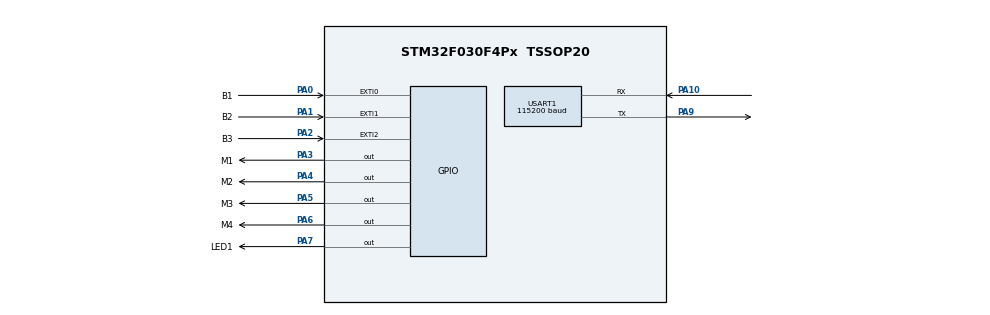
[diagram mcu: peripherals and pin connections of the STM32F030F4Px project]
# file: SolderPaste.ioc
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Mcu.Family=STM32F0
PA2.GPIO_PuPd=GPIO_PULLUP
PA10.Mode=Asynchronous
USART1.BaudRate=115200
PA0.GPIO_Label=B1
PA6.GPIO_Label=M4
ProjectManager.StackSize=0x400
USART1.VirtualMode-Asynchronous=VM_ASYNC
PA13.Signal=SYS_SWDIO
PA9.Mode=Asynchronous
ProjectManager.TargetToolchain=STM32CubeIDE
PA9.Signal=USART1_TX
PA1.GPIO_PuPd=GPIO_PULLUP
PA1.Signal=GPXTI1
PA5.Signal=GPIO_Output
board=custom
NVIC.EXTI2_3_IRQn=true\:0\:0\:false\:false\:true\:true\:true
PA14.Mode=Serial_Wire
PA0.GPIO_ModeDefaultEXTI=GPIO_MODE_IT_FALLING
PA1.GPIO_Label=B2
PA13.Mode=Serial_Wire
Mcu.Name=STM32F030F4Px
PA2.Signal=GPXTI2
PA0.Signal=GPXTI0
PA4.Signal=GPIO_Output
Mcu.Package=TSSOP20
PA6.Signal=GPIO_Output
PA7.GPIO_Label=LED1
PA5.GPIO_Label=M3
PA0.GPIO_PuPd=GPIO_PULLUP
PA2.GPIO_Label=B3
PA10.Signal=USART1_RX
PA14.Signal=SYS_SWCLK
ProjectManager.HeapSize=0x200
PA2.GPIO_ModeDefaultEXTI=GPIO_MODE_IT_FALLING
NVIC.USART1_IRQn=true\:0\:0\:false\:false\:true\:true\:true
PA1.GPIO_ModeDefaultEXTI=GPIO_MODE_IT_FALLING
PA4.GPIO_Label=M2
PA3.GPIO_Label=M1
PA3.Signal=GPIO_Output
PA7.Signal=GPIO_Output
NVIC.EXTI0_1_IRQn=true\:0\:0\:false\:false\:true\:true\:true

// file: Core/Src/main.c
/* USER CODE BEGIN Header */
/**
  ******************************************************************************
  * @file           : main.c
  * @brief          : Main program body
  ******************************************************************************
  * @attention
  *
  * <h2><center>&copy; Copyright (c) 2021 STMicroelectronics.
  * All rights reserved.</center></h2>
  *
  * This software component is licensed by ST under BSD 3-Clause license,
  * the "License"; You may not use this file except in compliance with the
  * License. You may obtain a copy of the License at:
  *                        opensource.org/licenses/BSD-3-Clause
  *
  ******************************************************************************
  */
/* USER CODE END Header */
#include "main.h"
#include "usart.h"
#include "gpio.h"

void SystemClock_Config(void);

/* USER CODE BEGIN 0 */
int motor_step(int counter_step){
	if(counter_step==0){
		HAL_GPIO_WritePin(M1_GPIO_Port, M1_Pin,1);
		HAL_GPIO_WritePin(M2_GPIO_Port, M2_Pin,0);
		HAL_GPIO_WritePin(M3_GPIO_Port, M3_Pin,0);
		HAL_GPIO_WritePin(M4_GPIO_Port, M4_Pin,0);
	}else if(counter_step==1){
		HAL_GPIO_WritePin(M1_GPIO_Port, M1_Pin,0);
		HAL_GPIO_WritePin(M2_GPIO_Port, M2_Pin,1);
		HAL_GPIO_WritePin(M3_GPIO_Port, M3_Pin,0);
		HAL_GPIO_WritePin(M4_GPIO_Port, M4_Pin,0);
	}else if(counter_step==2){
		HAL_GPIO_WritePin(M1_GPIO_Port, M1_Pin,0);
		HAL_GPIO_WritePin(M2_GPIO_Port, M2_Pin,0);
		HAL_GPIO_WritePin(M3_GPIO_Port, M3_Pin,1);
		HAL_GPIO_WritePin(M4_GPIO_Port, M4_Pin,0);
	}else if(counter_step==3){
		HAL_GPIO_WritePin(M1_GPIO_Port, M1_Pin,0);
		HAL_GPIO_WritePin(M2_GPIO_Port, M2_Pin,0);
		HAL_GPIO_WritePin(M3_GPIO_Port, M3_Pin,0);
		HAL_GPIO_WritePin(M4_GPIO_Port, M4_Pin,1);
	}else{
		return -1;
	}
	HAL_Delay(motor.step_time);
	return 1;
}

/* USER CODE END 0 */

int main(void)
{

  /* MCU Configuration--------------------------------------------------------*/

  /* Reset of all peripherals, Initializes the Flash interface and the Systick. */
  HAL_Init();

  /* Configure the system clock */
  SystemClock_Config();

  /* Initialize all configured peripherals */
  MX_GPIO_Init();
  MX_USART1_UART_Init();
  /* USER CODE BEGIN 2 */
  motor.step_val=4;//預設走的步數
  motor.led_blink=100;
  motor.step_time=100;//100ms
  motor.step_localtion=0;
  motor.step_target=0;
  motor.step_localtion_max=3000;
  motor.step_localtion_min=0;

  /* USER CODE END 2 */

  /* Infinite loop */
  while (1)
  {

    /* USER CODE BEGIN 3 */

if(motor.step_run==1){
	if(motor_step(motor.step_localtion%4)!=-1){
		if(motor.step_localtion>0){
			motor.step_localtion--;
		}else{
			motor.step_run=0;
		}
	}else{
		motor.step_run=0;
		/*
		 * error
		 */
	}
}else{
	HAL_Delay(motor.led_blink);
	HAL_GPIO_TogglePin(LED1_GPIO_Port, LED1_Pin);
}
  }
  /* USER CODE END 3 */
}

void SystemClock_Config(void)
{
  RCC_OscInitTypeDef RCC_OscInitStruct = {0};
  RCC_ClkInitTypeDef RCC_ClkInitStruct = {0};
  RCC_PeriphCLKInitTypeDef PeriphClkInit = {0};

  /** Initializes the RCC Oscillators according to the specified parameters
  * in the RCC_OscInitTypeDef structure.
  */
  RCC_OscInitStruct.OscillatorType = RCC_OSCILLATORTYPE_HSI;
  RCC_OscInitStruct.HSIState = RCC_HSI_ON;
  RCC_OscInitStruct.HSICalibrationValue = RCC_HSICALIBRATION_DEFAULT;
  RCC_OscInitStruct.PLL.PLLState = RCC_PLL_NONE;
  if (HAL_RCC_OscConfig(&RCC_OscInitStruct) != HAL_OK)
  {
    Error_Handler();
  }
  /** Initializes the CPU, AHB and APB buses clocks
  */
  RCC_ClkInitStruct.ClockType = RCC_CLOCKTYPE_HCLK|RCC_CLOCKTYPE_SYSCLK
                              |RCC_CLOCKTYPE_PCLK1;
  RCC_ClkInitStruct.SYSCLKSource = RCC_SYSCLKSOURCE_HSI;
  RCC_ClkInitStruct.AHBCLKDivider = RCC_SYSCLK_DIV1;
  RCC_ClkInitStruct.APB1CLKDivider = RCC_HCLK_DIV1;

  if (HAL_RCC_ClockConfig(&RCC_ClkInitStruct, FLASH_LATENCY_0) != HAL_OK)
  {
    Error_Handler();
  }
  PeriphClkInit.PeriphClockSelection = RCC_PERIPHCLK_USART1;
  PeriphClkInit.Usart1ClockSelection = RCC_USART1CLKSOURCE_PCLK1;
  if (HAL_RCCEx_PeriphCLKConfig(&PeriphClkInit) != HAL_OK)
  {
    Error_Handler();
  }
}

void Error_Handler(void)
{
  __disable_irq();
  while (1)
  {
  }
}

/************************ (C) COPYRIGHT STMicroelectronics *****END OF FILE****/
